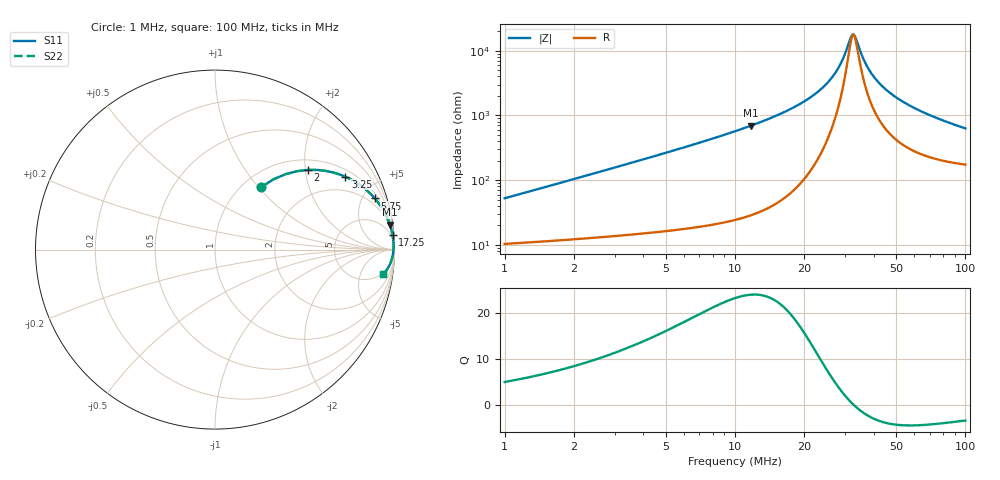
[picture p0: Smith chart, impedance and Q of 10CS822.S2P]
! Coilcraft 1008CS-822 Chip Inductor
! 02 July 2002
# MHZ S MA R 50
!Freq  MagS11  AngS11  MagS21  AngS21  MagS12  AngS12  MagS22  AngS22
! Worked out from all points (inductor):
!   397 points, 1 MHz to 100 MHz, reference 50 ohm
!   read as one part in series: L = 8.2 uH near 1.25 MHz
!   highest Q = 24.1 at 11.75 MHz (marker M1), where L = 9.42 uH
!   self-resonance near 32.5 MHz
!   S11 on the Smith chart (normalised r, x): 1 MHz: 1.21, +1.03; 2 MHz: 1.24, +2.07; 3.25 MHz: 1.28, +3.38; 5.75 MHz: 1.35, +6.12; 17.25 MHz: 2, +25; 100 MHz: 4, -12
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1  0.4318 53.6  0.8207 -25.0  0.8207 -25.0  0.4318 53.6
1.5  0.577 46.8  0.7371 -34.8  0.7371 -34.8  0.577 46.8
2  0.6824 40.6  0.6552 -42.7  0.6552 -42.7  0.6824 40.6
3.25  0.8319 29.2  0.4902 -56.0  0.4902 -56.0  0.8319 29.2
4.25  0.8901 23.4  0.3986 -62.6  0.3986 -62.6  0.8901 23.4
5.75  0.9351 17.7  0.3054 -69.0  0.3054 -69.0  0.9351 17.7
11.75  0.9841 8.1  0.1414 -79.5  0.1414 -79.5  0.9841 8.1
17.25  0.9928 4.6  0.08045 -82.5  0.08045 -82.5  0.9928 4.6
17.5  0.993 4.5  0.07842 -82.6  0.07842 -82.6  0.993 4.5
22.75  0.9951 2.5  0.04375 -82.4  0.04375 -82.4  0.9951 2.5
26.5  0.9953 1.4  0.02521 -78.6  0.02521 -78.6  0.9953 1.4
29  0.9951 0.8  0.01485 -70.4  0.01485 -70.4  0.9951 0.8
32.25  0.9945 0.1  0.005714 -15.6  0.005714 -15.6  0.9945 0.1
33  0.9943 -0.1  0.005802 11.4  0.005802 11.4  0.9943 -0.1
34  0.994 -0.3  0.007547 37.8  0.007547 37.8  0.994 -0.3
36.75  0.9932 -0.8  0.01531 63.2  0.01531 63.2  0.9932 -0.8
40  0.992 -1.4  0.02496 70.6  0.02496 70.6  0.992 -1.4
44.5  0.99 -2.1  0.03759 73.6  0.03759 73.6  0.99 -2.1
50.5  0.9869 -3.0  0.05309 74.3  0.05309 74.3  0.9869 -3.0
67  0.9762 -5.0  0.09022 72.2  0.09022 72.2  0.9762 -5.0
83.5  0.9631 -6.8  0.1221 69.0  0.1221 69.0  0.9631 -6.8
100  0.948 -8.3  0.1503 65.7  0.1503 65.7  0.948 -8.3
